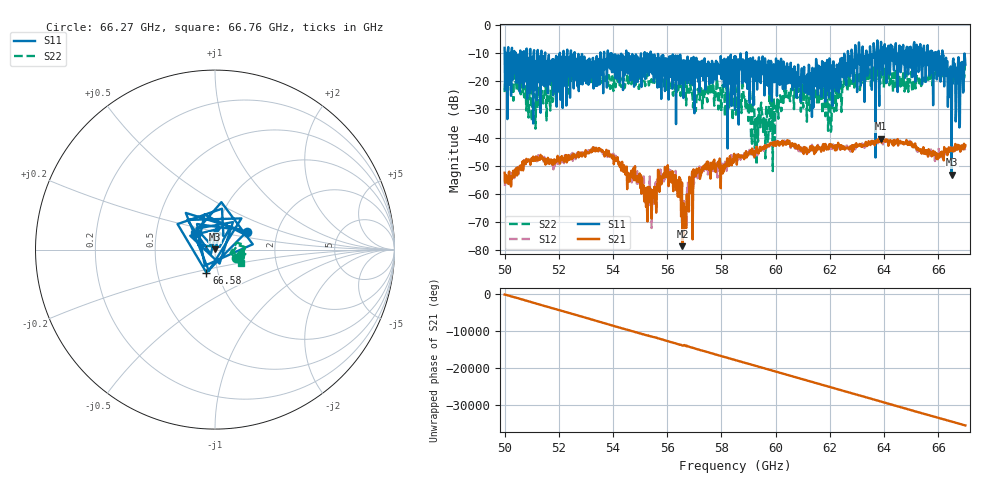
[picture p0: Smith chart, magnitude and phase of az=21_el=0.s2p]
!Created with skrf (http://scikit-rf.org).
# GHz S RI R 50.0
!freq ReS11 ImS11 ReS21 ImS21 ReS12 ImS12 ReS22 ImS22
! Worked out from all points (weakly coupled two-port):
!   1001 points, 50 GHz to 67 GHz, reference 50 ohm
!   highest |S21| = -40.39 dB at 63.87 GHz (marker M1); lowest = -78.5 dB at 56.56 GHz (marker M2)
!   lowest |S11| = -53.1 dB at 66.49 GHz (marker M3), VSWR 1.00, Z = 50.2 + j0.145 ohm
!   |S11| at or under -10 dB: 52.58 GHz to 53.53 GHz (949.6 MHz wide, 1.79 % of centre); 55.39 GHz to 58.92 GHz (3.534 GHz wide, 6.18 % of centre); 58.93 GHz to 62.66 GHz (3.737 GHz wide, 6.15 % of centre) (the widest 3 of 64)
!   |S22| runs from -51.9 to -13.2 dB; largest |S21 - S12| = 0.0024
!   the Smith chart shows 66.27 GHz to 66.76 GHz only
!   S11 on the Smith chart (normalised r, x): 66.27 GHz: 1.39, +0.29; 66.58 GHz: 0.88, -0.23; 66.76 GHz: 0.78, +0.14
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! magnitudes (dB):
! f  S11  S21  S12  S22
! 50 GHz  -8.2  -52.5  -54.1  -23.9
! 51.07 GHz  -10.0  -48.3  -47.5  -25.6
! 52.84 GHz  -12.1  -46.4  -46.1  -19.6
! 54.08 GHz  -10.5  -47.2  -47.1  -20.7
! 55.24 GHz  -14.9  -57.7  -62.3  -18.5
! 55.68 GHz  -13.3  -54.5  -53.2  -21.4
! 56.36 GHz  -14.5  -55.2  -55.9  -23.8
! 56.56 GHz  -13.5  -78.5  -64.5  -24.4
! 57.05 GHz  -15.6  -53.6  -53.4  -30.6
! 58.5 GHz  -30.2  -47.4  -46.8  -23.3
! 59.32 GHz  -23.0  -45.3  -46.3  -33.0
! 60.4 GHz  -17.8  -42.4  -41.4  -23.8
! 61.34 GHz  -32.7  -43.6  -42.5  -26.7
! 62 GHz  -12.3  -43.3  -43.3  -23.6
! 62.55 GHz  -11.4  -44.3  -43.7  -18.7
! 63.87 GHz  -8.6  -40.4  -41.7  -19.9
! 64.18 GHz  -12.1  -41.5  -41.9  -17.5
! 66.27 GHz  -13.9  -44.8  -45.9  -18.0
! 66.49 GHz  -53.1  -43.8  -44.8  -15.4
! 66.58 GHz  -17.3  -44.8  -43.2  -15.7
! 66.76 GHz  -16.7  -42.7  -43.4  -15.9
! 67 GHz  -14.1  -42.8  -43.9  -14.4
